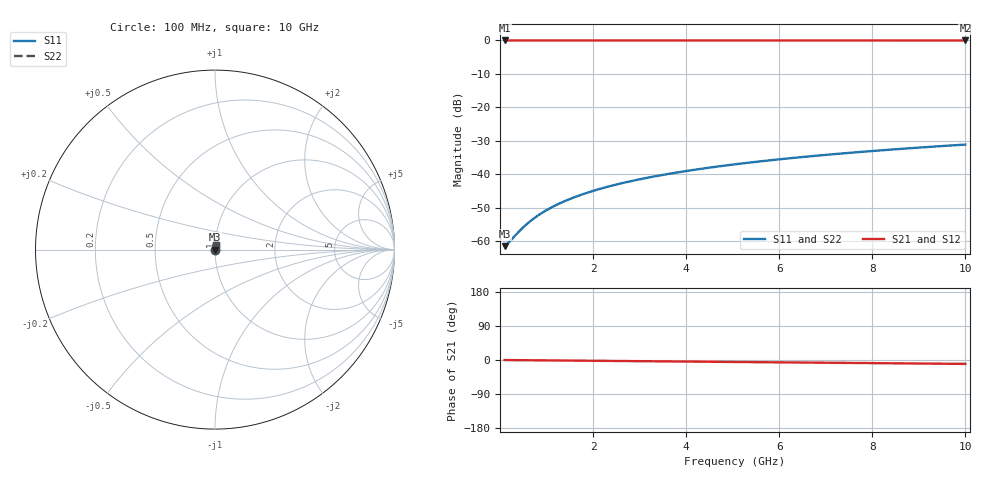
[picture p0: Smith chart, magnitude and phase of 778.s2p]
# Hz S RI R 50.00
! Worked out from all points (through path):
!   100 points, 100 MHz to 10 GHz, reference 50 ohm
!   highest |S21| = -0.01 dB at 100 MHz (marker M1); lowest = 0.0 dB at 10 GHz (marker M2)
!   group delay of S21, straight-line fit = 2.86 ps
!   lowest |S11| = -61.5 dB at 100 MHz (marker M3), VSWR 1.00, Z = 50.1 + j0.0278 ohm
!   |S11| at or under -10 dB: start of sweep to end of sweep
!   |S22| runs from -61.5 to -31.1 dB; largest |S21 - S12| = 0
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1e8  0.000795 0.000278  0.9992 -0.00179  0.9992 -0.00179  0.000795 0.000278
2e8  0.000801 0.000555  0.9992 -0.00357  0.9992 -0.00357  0.000801 0.000555
4e8  0.000813 0.00111  0.9992 -0.00715  0.9992 -0.00715  0.000813 0.00111
5e8  0.00082 0.00139  0.9991 -0.00893  0.9991 -0.00893  0.00082 0.00139
6e8  0.000827 0.00167  0.9991 -0.0107  0.9991 -0.0107  0.000827 0.00167
7e8  0.000835 0.00194  0.9991 -0.0125  0.9991 -0.0125  0.000835 0.00194
8e8  0.000844 0.00222  0.9991 -0.0143  0.9991 -0.0143  0.000844 0.00222
1e9  0.000864 0.00278  0.999 -0.0179  0.999 -0.0179  0.000864 0.00278
1.2e9  0.000888 0.00333  0.9989 -0.0214  0.9989 -0.0214  0.000888 0.00333
1.5e9  0.00093 0.00416  0.9988 -0.0268  0.9988 -0.0268  0.00093 0.00416
1.8e9  0.000981 0.00499  0.9986 -0.0322  0.9986 -0.0322  0.000981 0.00499
2.1e9  0.00104 0.00582  0.9984 -0.0375  0.9984 -0.0375  0.00104 0.00582
2.5e9  0.00113 0.00693  0.9981 -0.0447  0.9981 -0.0447  0.00113 0.00693
2.9e9  0.00124 0.00803  0.9978 -0.0518  0.9978 -0.0518  0.00124 0.00803
3.4e9  0.0014 0.00941  0.9972 -0.0608  0.9972 -0.0608  0.0014 0.00941
4.2e9  0.00171 0.0116  0.9962 -0.0751  0.9962 -0.0751  0.00171 0.0116
5.1e9  0.00212 0.0141  0.9948 -0.0912  0.9948 -0.0912  0.00212 0.0141
5.9e9  0.00256 0.0162  0.9934 -0.1055  0.9934 -0.1055  0.00256 0.0162
6.7e9  0.00306 0.0184  0.9917 -0.1197  0.9917 -0.1197  0.00306 0.0184
7.5e9  0.00362 0.0206  0.9898 -0.134  0.9898 -0.134  0.00362 0.0206
8.4e9  0.00433 0.023  0.9874 -0.1501  0.9874 -0.1501  0.00433 0.023
1e10  0.00579 0.0272  0.9825 -0.1785  0.9825 -0.1785  0.00579 0.0272
